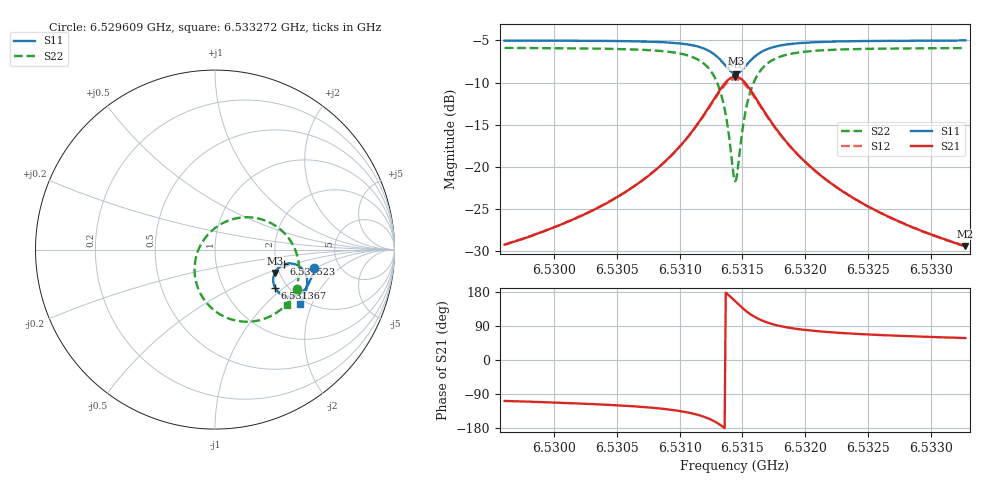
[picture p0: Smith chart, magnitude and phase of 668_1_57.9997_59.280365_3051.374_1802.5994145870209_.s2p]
#  HZ  S  RI  R  50.00
! Rohde & Schwarz Vector Network Analyzer
! Rohde-Schwarz,ZNB20-2Port,1311601062101988,3.16
! Created: UTC 3/21/2024, 1:20:14 AM
! freq[Hz]  re:S11  im:S11  re:S21  im:S21  re:S12  im:S12  re:S22  im:S22
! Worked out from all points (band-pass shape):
!   401 points, 6.529609 GHz to 6.533272 GHz, reference 50 ohm
!   highest |S21| = -9.29 dB at 6.53144 GHz (marker M1); lowest = -29.4 dB at 6.533272 GHz (marker M2)
!   |S21| within 3 dB of the highest: 6.531259 GHz to 6.531625 GHz (366.4 kHz wide, 0.00561 % of centre)
!   lowest |S11| = -8.9 dB at 6.53145 GHz (marker M3), VSWR 2.11, Z = 94.3 - j28.2 ohm
!   |S11| at or under -10 dB: nowhere
!   |S22| runs from -21.7 to -5.9 dB; largest |S21 - S12| = 0.014
!   S11 on the Smith chart (normalised r, x): 6.529609 GHz: 3.24, -0.96; 6.531367 GHz: 1.73, -0.87; 6.531523 GHz: 2.20, -0.43; 6.533272 GHz: 1.83, -1.64
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6.5296087e9  0.5512 -0.1012  -0.0108 -0.033  -0.0114 -0.0328  0.458 -0.2182
6.5302223e9  0.5377 -0.1535  -0.0219 -0.0467  -0.0231 -0.0462  0.4215 -0.2765
6.5305795e9  0.5233 -0.1881  -0.0371 -0.0617  -0.0388 -0.0606  0.382 -0.3203
6.5308359e9  0.5049 -0.2174  -0.0612 -0.079  -0.0635 -0.0772  0.3287 -0.3605
6.5310557e9  0.4725 -0.2472  -0.1095 -0.0992  -0.1125 -0.095  0.2324 -0.3968
6.5312114e9  0.4215 -0.2628  -0.1891 -0.1003  -0.1908 -0.0921  0.089 -0.3882
6.531303e9  0.3708 -0.2499  -0.2668 -0.0617  -0.2639 -0.0503  -0.0371 -0.3075
6.5313396e9  0.3487 -0.2322  -0.299 -0.0249  -0.2926 -0.0135  -0.0836 -0.2401
6.5313671e9  0.3347 -0.2123  -0.3175 0.0129  -0.3084 0.0235  -0.1071 -0.1731
6.5314221e9  0.3249 -0.1587  -0.3232 0.1093  -0.31 0.1145  -0.0976 -0.0147
6.5314404e9  0.3292 -0.1397  -0.3124 0.1424  -0.2989 0.1449  -0.0737 0.037
6.5314495e9  0.3327 -0.1306  -0.3045 0.1578  -0.2911 0.1594  -0.0579 0.0607
6.5314679e9  0.3429 -0.1139  -0.2845 0.1861  -0.2717 0.1854  -0.0204 0.103
6.5315228e9  0.3862 -0.0822  -0.2047 0.2383  -0.1965 0.2338  0.1189 0.1745
6.5315503e9  0.4093 -0.0771  -0.164 0.2462  -0.1579 0.2412  0.1876 0.18
6.5315869e9  0.4367 -0.079  -0.1168 0.2428  -0.1129 0.2385  0.2659 0.1663
6.5316785e9  0.4815 -0.1028  -0.0406 0.2065  -0.0389 0.204  0.3889 0.0891
6.5318159e9  0.5072 -0.1426  0.00403 0.151  0.00522 0.1501  0.454 -0.0207
6.532054e9  0.5136 -0.1899  0.0214 0.0959  0.0227 0.0955  0.4681 -0.1325
6.5323196e9  0.5076 -0.2248  0.0233 0.0661  0.0242 0.0657  0.4561 -0.1993
6.5326676e9  0.4956 -0.2589  0.0215 0.0457  0.0223 0.0454  0.4357 -0.2519
6.5332721e9  0.4712 -0.3058  0.0181 0.0289  0.0186 0.0284  0.401 -0.3096
